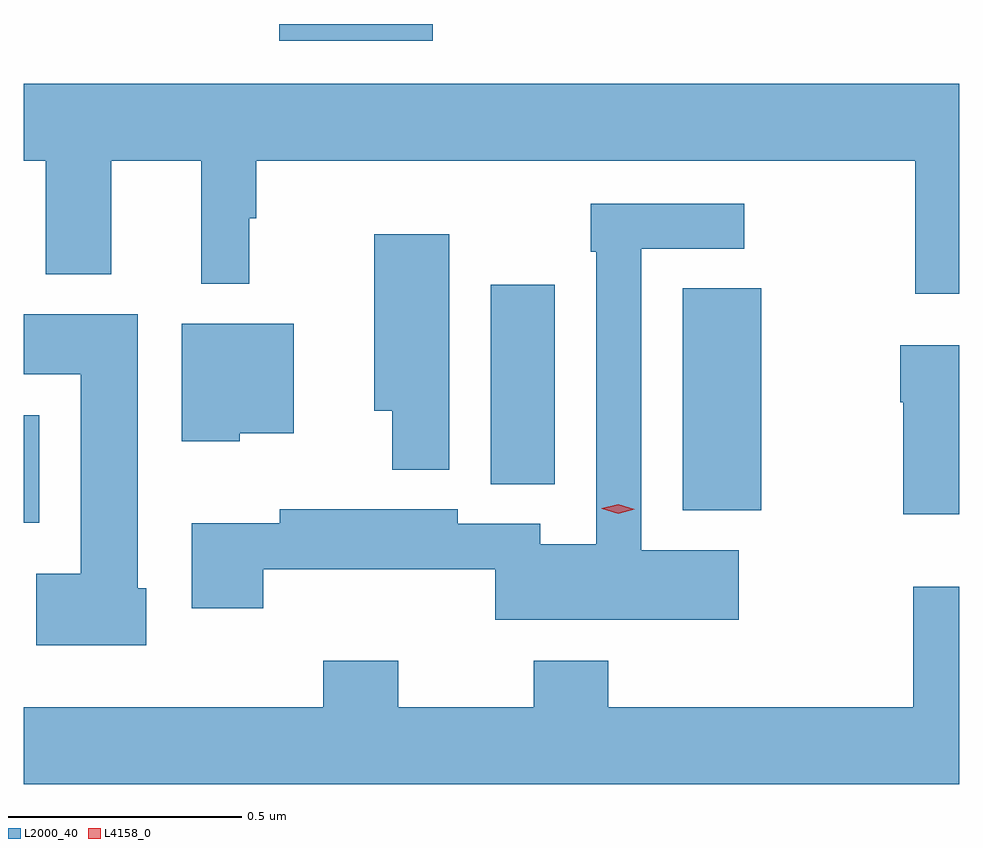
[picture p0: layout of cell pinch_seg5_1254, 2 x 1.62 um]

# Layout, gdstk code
import gdstk
lib = gdstk.Library(unit=1e-6, precision=1e-09)
def R(c, l, rs):  # rectangles x0, y0, x1, y1
    for r in rs: c.add(gdstk.rectangle(r[:2], r[2:], *l))
def P(c, l, *ps):  # polygons
    for p in ps: c.add(gdstk.Polygon(p, *l))
L2000_40 = (2000, 40)
L4158_0 = (4158, 0)

pinch_seg5_1254 = lib.new_cell('pinch_seg5_1254')
R(pinch_seg5_1254, L2000_40, [(436.08,899.942,436.114,900.172), (437.489,899.969,437.656,900.443), (437.078,900.025,437.215,900.451), (436.626,900.972,436.954,901.008)])
P(pinch_seg5_1254, L2000_40, [(436.08,900.716),(436.127,900.716),(436.127,900.473),(436.267,900.473),(436.267,900.716),(436.46,900.716),(436.46,900.453),(436.562,900.453),(436.562,900.593),(436.577,900.593),(436.577,900.716),(437.986,900.716),(437.986,900.432),(438.08,900.432),(438.08,900.88),(436.08,900.88)],
  [(437.608,899.884),(437.4,899.884),(437.4,900.528),(437.62,900.528),(437.62,900.624),(437.292,900.624),(437.292,900.521),(437.304,900.521),(437.304,899.896),(437.184,899.896),(437.184,899.94),(437.008,899.94),(437.008,899.971),(436.628,899.971),(436.628,899.941),(436.439,899.941),(436.439,899.76),(436.592,899.76),(436.592,899.843),(437.088,899.843),(437.088,899.735),(437.608,899.735)],
  [(436.99,900.559),(436.829,900.559),(436.829,900.182),(436.868,900.182),(436.868,900.056),(436.99,900.056)],
  [(436.342,899.802),(436.324,899.802),(436.324,900.388),(436.08,900.388),(436.08,900.26),(436.202,900.26),(436.202,899.833),(436.107,899.833),(436.107,899.681),(436.342,899.681)],
  [(436.542,900.134),(436.657,900.134),(436.657,900.367),(436.418,900.367),(436.418,900.116),(436.542,900.116)],
  [(438.08,900.322),(437.953,900.322),(437.953,900.2),(437.96,900.2),(437.96,899.96),(438.08,899.96)],
  [(438.08,899.806),(437.981,899.806),(437.981,899.548),(437.33,899.548),(437.33,899.647),(437.17,899.647),(437.17,899.548),(436.881,899.548),(436.881,899.647),(436.721,899.647),(436.721,899.548),(436.08,899.548),(436.08,899.384),(438.08,899.384)])
P(pinch_seg5_1254, L4158_0, [(437.351,899.962),(437.316,899.972),(437.316,899.972),(437.316,899.973),(437.351,899.982),(437.386,899.971),(437.386,899.971),(437.386,899.971)])

lib.write_gds('pinch_seg5_1254.gds')
